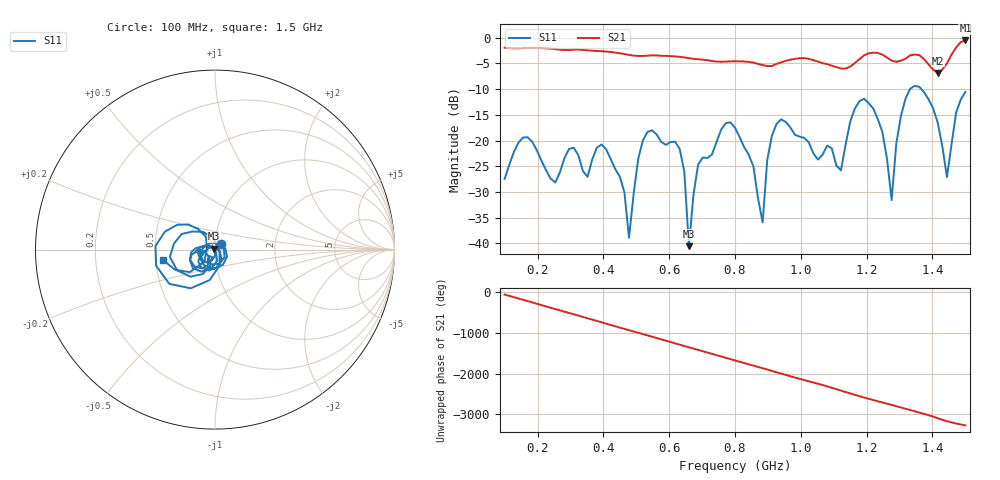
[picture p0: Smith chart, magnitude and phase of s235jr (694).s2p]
! NanoVNA-App
! Date: 2025-09-25 15:09:34
! Start: 100MHz Stop: 1,5GHz Points: 101
! S-Parameter data: F S11 S21 S12 S22
# Hz S RI R 50
!  Frequency  S11_Real  S11_Imag  S21_Real  S21_Imag  S12_Real  S12_Imag  S22_Real  S22_Imag
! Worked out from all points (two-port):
!   101 points, 100 MHz to 1.5 GHz, reference 50 ohm
!   highest |S21| = -0.56 dB at 1.5 GHz (marker M1); lowest = -6.9 dB at 1.416 GHz (marker M2)
!   |S21| within 3 dB of the highest: start of sweep to 505.3 MHz; 523.5 MHz to 592.3 MHz (68.83 MHz wide, 12.3 % of centre) (the widest 2 of 5)
!   lowest |S11| = -40.5 dB at 660 MHz (marker M3), VSWR 1.02, Z = 49.2 + j0.549 ohm
!   |S11| at or under -10 dB: start of sweep to 1.332 GHz; 1.366 GHz to end of sweep
!   S12 and S22 are empty: the file has one direction only
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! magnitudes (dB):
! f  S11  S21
! 100 MHz  -27.5  -2.0
! 156 MHz  -19.4  -2.0
! 338 MHz  -25.9  -2.4
! 408 MHz  -21.6  -2.7
! 478 MHz  -38.9  -3.4
! 520 MHz  -20.0  -3.6
! 576 MHz  -20.3  -3.5
! 632 MHz  -21.6  -3.7
! 660 MHz  -40.5  -4.0
! 688 MHz  -24.7  -4.2
! 800 MHz  -17.5  -4.6
! 884 MHz  -35.9  -5.3
! 926 MHz  -16.8  -5.1
! 1.038 GHz  -22.5  -4.4
! 1.122 GHz  -25.8  -6.0
! 1.192 GHz  -11.9  -3.5
! 1.248 GHz  -18.4  -3.3
! 1.276 GHz  -31.6  -4.5
! 1.332 GHz  -9.9  -3.5
! 1.416 GHz  -16.5  -6.9
! 1.444 GHz  -27.1  -5.0
! 1.5 GHz  -10.6  -0.6
